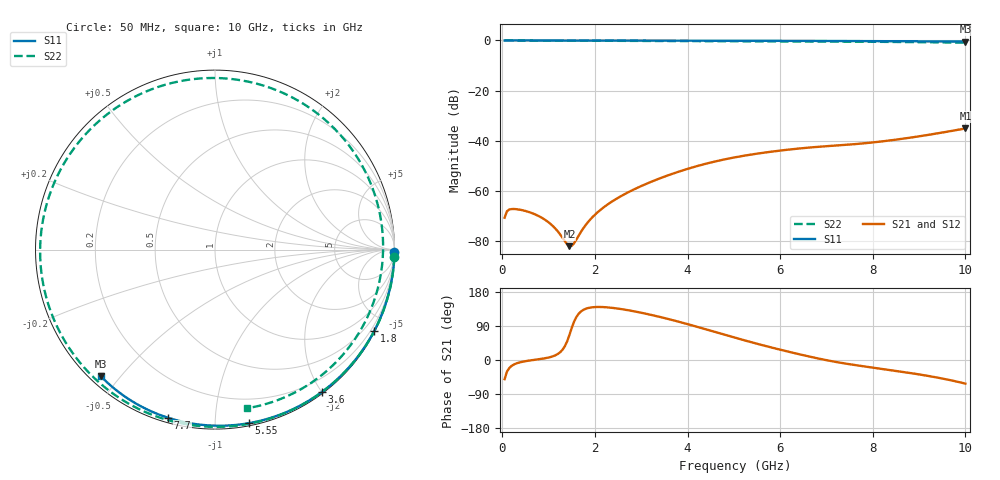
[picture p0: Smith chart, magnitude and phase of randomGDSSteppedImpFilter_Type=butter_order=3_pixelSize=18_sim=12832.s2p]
! freq	dB(S11)	phase(S11)	dB(S12)	phase(S12)
!  dB(S21)	phase(S21)	dB(S22)	phase(S22)
!S-par simulation data
#  GHz  S  DB  R 50
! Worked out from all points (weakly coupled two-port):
!   200 points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, 50 MHz to 10 GHz, reference 50 ohm
!   highest |S21| = -35.13 dB at 10 GHz (marker M1); lowest = -82.1 dB at 1.45 GHz (marker M2)
!   lowest |S11| = -0.4 dB at 10 GHz (marker M3), VSWR 38.99, Z = 1.54 - j22.2 ohm
!   |S11| at or under -10 dB: nowhere
!   |S22| runs from -0.9 to 0.0 dB; largest |S21 - S12| = 0
!   S11 on the Smith chart (normalised r, x): 50 MHz: open; 1.8 GHz: 0.04, -4.15; 3.6 GHz: 0.02, -2.01; 5.55 GHz: 0.02, -1.21; 7.7 GHz: 0.02, -0.76; 10 GHz: 0.03, -0.44
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0.05  -0.00 -0.8  -70.74 -50.6  -70.74 -50.6  -0.00 -2.3
0.1  -0.00 -1.5  -68.15 -30.9  -68.15 -30.9  -0.00 -4.5
0.2  -0.00 -3.1  -67.29 -15.6  -67.29 -15.6  -0.00 -9.0
0.6  -0.01 -9.1  -68.63 -1.1  -68.63 -1.1  -0.03 -27.0
0.95  -0.02 -14.4  -71.92 5.2  -71.92 5.2  -0.05 -42.3
1.45  -0.03 -21.9  -82.11 66.1  -82.11 66.1  -0.08 -63.7
1.6  -0.03 -24.1  -79.45 113.6  -79.45 113.6  -0.09 -70.0
1.75  -0.03 -26.3  -74.95 132.3  -74.95 132.3  -0.09 -76.1
1.8  -0.03 -27.1  -73.68 135.1  -73.68 135.1  -0.10 -78.2
2.4  -0.05 -35.9  -63.92 137.2  -63.92 137.2  -0.12 -102.2
3.4  -0.07 -50.1  -55.06 113.7  -55.06 113.7  -0.17 -140.4
3.6  -0.07 -52.9  -53.69 107.7  -53.69 107.7  -0.18 -147.9
4.35  -0.09 -63.2  -49.43 82.6  -49.43 82.6  -0.22 -176.2
5.05  -0.11 -72.6  -46.56 58.0  -46.56 58.0  -0.27 156.4
5.55  -0.13 -79.1  -45.05 41.3  -45.05 41.3  -0.31 135.6
6.15  -0.15 -86.7  -43.63 22.8  -43.63 22.8  -0.36 109.1
6.7  -0.18 -93.5  -42.63 7.2  -42.63 7.2  -0.40 83.1
7.2  -0.21 -99.6  -41.95 -5.1  -41.95 -5.1  -0.45 58.2
7.7  -0.24 -105.6  -41.24 -14.9  -41.24 -14.9  -0.50 32.6
8.35  -0.29 -113.2  -39.95 -26.0  -39.95 -26.0  -0.57 -0.7
9.25  -0.37 -123.6  -37.53 -43.2  -37.53 -43.2  -0.72 -44.6
10  -0.45 -132.1  -35.13 -62.3  -35.13 -62.3  -0.90 -78.4
